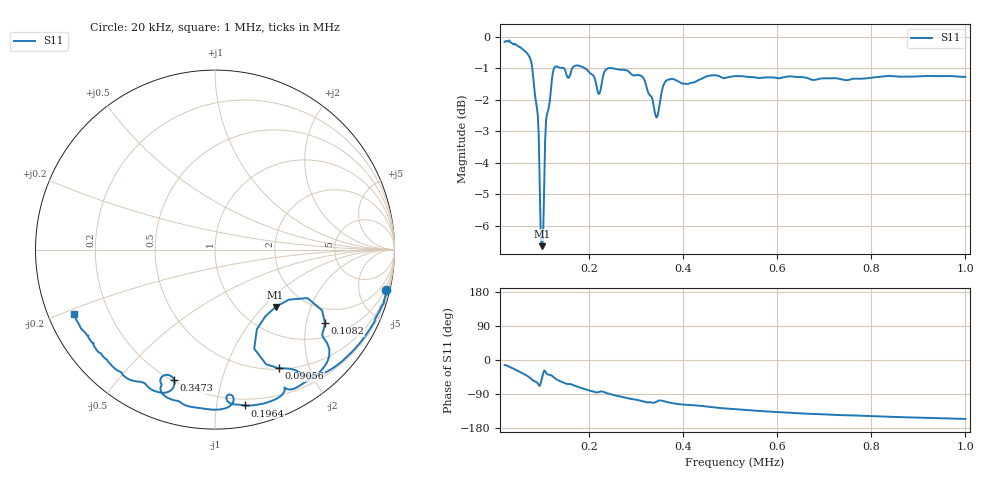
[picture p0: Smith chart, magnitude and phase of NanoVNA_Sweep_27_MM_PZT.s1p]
! NanoVNA MATLAB Controller & Analyzer Export
! Date: 29-Jul-2026 17:37:29
! Freq Range: 20.000 kHz - 1000.000 kHz (501 pts)
# Hz S RI R 50
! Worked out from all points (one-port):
!   501 points, 20 kHz to 1 MHz, reference 50 ohm
!   lowest |S11| = -6.7 dB at 100.4 kHz (marker M1), VSWR 2.74, Z = 72.4 - j59.1 ohm
!   |S11| at or under -10 dB: nowhere
!   S11 on the Smith chart (normalised r, x): 20 kHz: 0.68, -8.49; 90.56 kHz: 0.51, -1.55; 108.2 kHz: 1.43, -2.58; 196.4 kHz: 0.15, -1.20; 347.3 kHz: 0.21, -0.71; 1 MHz: 0.08, -0.22
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20000  0.9551 -0.2267
43520  0.8753 -0.4227
65080  0.7281 -0.6035
78800  0.5461 -0.7054
90560  0.3552 -0.6611
96440  0.2335 -0.4431
100360  0.3373 -0.3198
104280  0.5155 -0.2701
108200  0.6129 -0.4102
121920  0.6363 -0.5942
129760  0.5688 -0.694
143480  0.4643 -0.7628
196400  0.1661 -0.8685
214040  0.0682 -0.8427
221880  0.0878 -0.8078
227760  0.1023 -0.8477
237560  0.0399 -0.8884
265000  -0.0943 -0.8815
319880  -0.3018 -0.7873
339480  -0.2868 -0.7017
347320  -0.2275 -0.727
361040  -0.2843 -0.7978
388480  -0.3756 -0.7627
510000  -0.5533 -0.6663
633480  -0.6602 -0.5578
755000  -0.7092 -0.4785
878480  -0.7588 -0.414
1000000  -0.7859 -0.3582
